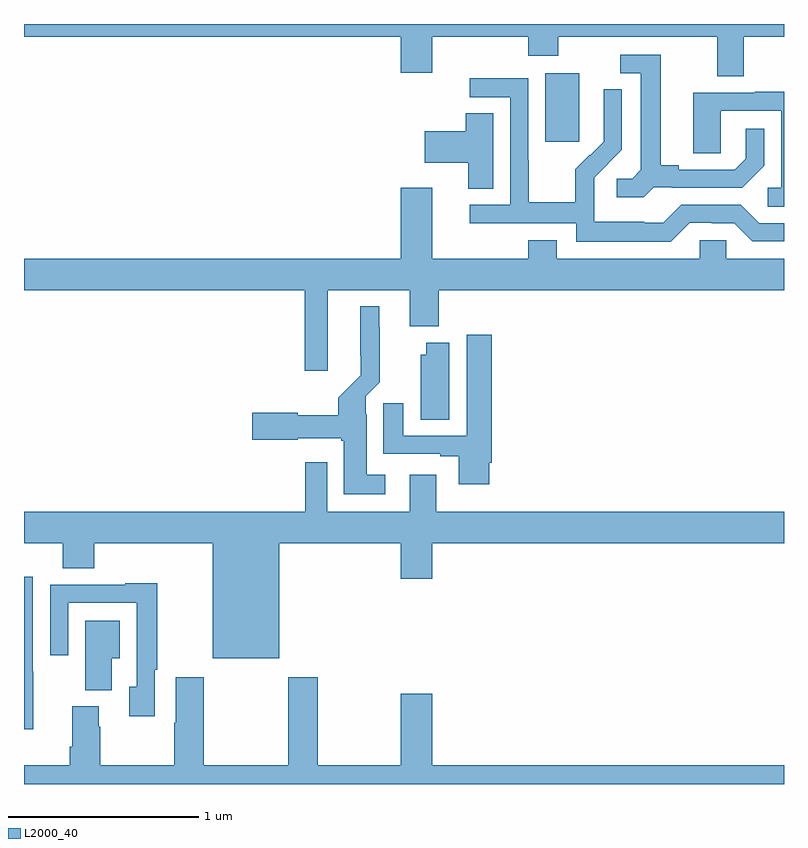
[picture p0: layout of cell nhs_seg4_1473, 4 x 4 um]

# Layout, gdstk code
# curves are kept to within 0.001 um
import gdstk
lib = gdstk.Library(unit=1e-6, precision=1e-09)
def R(c, l, rs):  # rectangles x0, y0, x1, y1
    for r in rs: c.add(gdstk.rectangle(r[:2], r[2:], *l))
def P(c, l, *ps):  # polygons
    for p in ps: c.add(gdstk.Polygon(p, *l))
L2000_40 = (2000, 40)

nhs_seg4_1473 = lib.new_cell('nhs_seg4_1473')
R(nhs_seg4_1473, L2000_40, [(189.743,784.281,189.922,784.642)])
P(nhs_seg4_1473, L2000_40, [(190.789,784.832),(191,784.832),(191,784.9),(187,784.9),(187,784.832),(188.984,784.832),(188.984,784.644),(189.148,784.644),(189.148,784.832),(189.653,784.832),(189.653,784.733),(189.813,784.733),(189.813,784.832),(190.649,784.832),(190.649,784.624),(190.789,784.624)],
  [(190.314,784.041),(190.408,784.041),(190.408,784.038),(190.78,784.038),(190.896,784.154),(190.896,784.348),(190.799,784.348),(190.799,784.191),(190.742,784.134),(190.447,784.134),(190.447,784.157),(190.351,784.157),(190.351,784.737),(190.137,784.737),(190.137,784.641),(190.247,784.641),(190.247,784.133),(190.2,784.086),(190.119,784.086),(190.119,783.989),(190.262,783.989)],
  [(190.503,783.855),(190.619,783.855),(190.619,783.852),(190.737,783.852),(190.833,783.756),(191,783.756),(191,783.852),(190.869,783.852),(190.773,783.948),(190.458,783.948),(190.365,783.855),(190.265,783.855),(190.265,783.859),(190.002,783.859),(190.002,783.993),(190,783.993),(190,784.09),(190.146,784.238),(190.146,784.556),(190.05,784.556),(190.05,784.402),(190.052,784.402),(190.052,784.28),(189.981,784.209),(189.978,784.212),(189.901,784.135),(189.901,783.961),(189.657,783.961),(189.657,784.184),(189.654,784.184),(189.654,784.614),(189.345,784.614),(189.345,784.515),(189.558,784.515),(189.558,783.948),(189.345,783.948),(189.345,783.852),(189.906,783.852),(189.906,783.755),(190.403,783.755)],
  [(191,784.543),(190.847,784.543),(190.847,784.539),(190.523,784.539),(190.523,784.219),(190.668,784.219),(190.668,784.443),(190.986,784.443),(190.986,784.038),(190.914,784.038),(190.914,783.937),(191,783.937)],
  [(189.469,784.43),(189.326,784.43),(189.326,784.335),(189.108,784.335),(189.108,784.169),(189.338,784.169),(189.338,784.033),(189.469,784.033)],
  [(188.599,783.5),(189.029,783.5),(189.029,783.308),(189.182,783.308),(189.182,783.5),(191,783.5),(191,783.664),(190.695,783.664),(190.695,783.762),(190.557,783.762),(190.557,783.664),(189.805,783.664),(189.805,783.763),(189.653,783.763),(189.653,783.664),(189.148,783.664),(189.148,784.039),(188.984,784.039),(188.984,783.664),(187,783.664),(187,783.5),(188.477,783.5),(188.477,783.075),(188.599,783.075)],
  [(188.902,782.527),(188.803,782.527),(188.803,782.846),(188.799,782.846),(188.799,782.94),(188.873,783.014),(188.873,783.305),(188.869,783.305),(188.869,783.415),(188.771,783.415),(188.772,783.052),(188.654,782.934),(188.654,782.842),(188.442,782.842),(188.442,782.855),(188.202,782.855),(188.202,782.713),(188.442,782.713),(188.442,782.72),(188.67,782.72),(188.67,782.706),(188.684,782.706),(188.684,782.426),(188.902,782.426)],
  [(189.448,782.59),(189.461,782.59),(189.461,783.265),(189.329,783.265),(189.329,782.733),(188.995,782.733),(188.995,782.905),(188.891,782.905),(188.891,782.637),(189.191,782.637),(189.191,782.625),(189.287,782.625),(189.287,782.478),(189.448,782.478)],
  [(189.238,783.223),(189.116,783.223),(189.116,783.159),(189.089,783.159),(189.089,782.818),(189.238,782.818)],
  [(188.344,782.168),(188.984,782.168),(188.984,781.98),(189.148,781.98),(189.148,782.168),(191,782.168),(191,782.332),(189.169,782.332),(189.169,782.527),(189.029,782.527),(189.029,782.332),(188.595,782.332),(188.595,782.593),(188.479,782.593),(188.479,782.332),(187,782.332),(187,782.168),(187.205,782.168),(187.205,782.035),(187.37,782.035),(187.37,782.168),(187.994,782.168),(187.994,781.562),(188.344,781.562)],
  [(187.049,781.49),(187.047,781.49),(187.047,781.99),(187,781.99),(187,781.187),(187.049,781.187)],
  [(187.689,781.501),(187.702,781.501),(187.702,781.957),(187.533,781.957),(187.533,781.95),(187.137,781.95),(187.137,781.578),(187.233,781.578),(187.233,781.854),(187.593,781.854),(187.593,781.413),(187.553,781.413),(187.553,781.257),(187.689,781.257)],
  [(187.462,781.562),(187.504,781.562),(187.504,781.759),(187.322,781.759),(187.322,781.393),(187.462,781.393)],
  [(191,781),(189.148,781),(189.148,781.375),(188.984,781.375),(188.984,781),(188.547,781),(188.547,781.462),(188.392,781.462),(188.392,781),(187.947,781),(187.947,781.462),(187.799,781.462),(187.799,781.223),(187.792,781.223),(187.792,781),(187.401,781),(187.401,781.202),(187.393,781.202),(187.393,781.308),(187.253,781.308),(187.253,781.096),(187.241,781.096),(187.241,781),(187,781),(187,780.9),(191,780.9)])

lib.write_gds('nhs_seg4_1473.gds')
